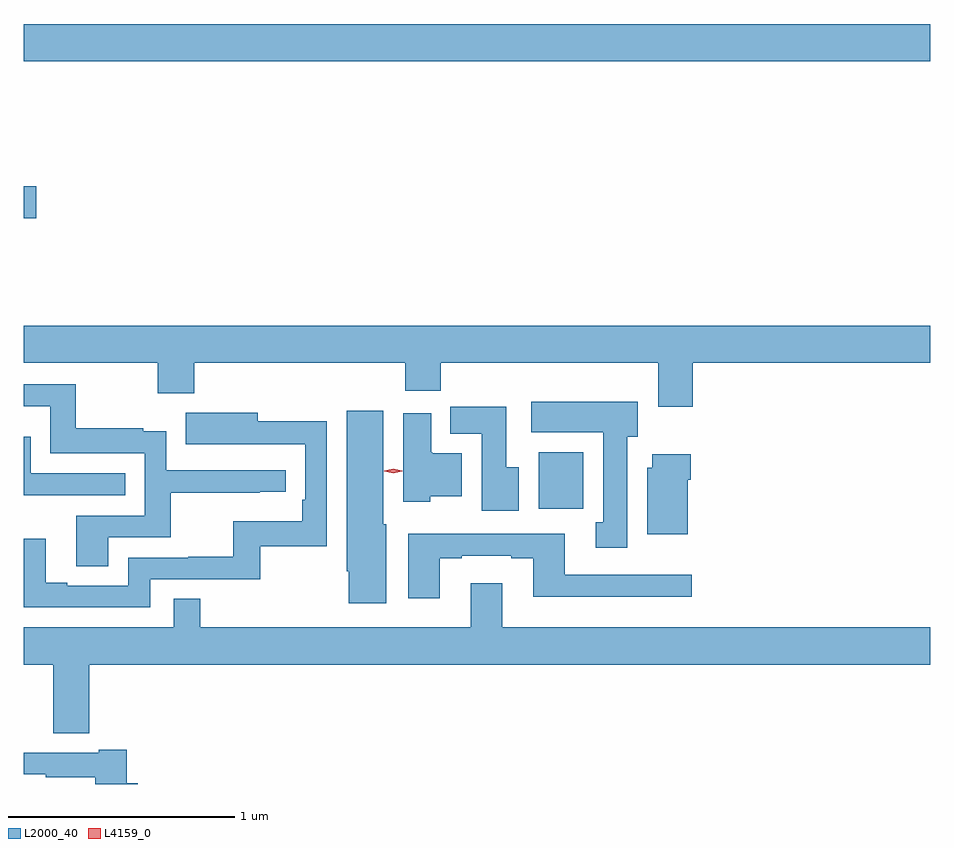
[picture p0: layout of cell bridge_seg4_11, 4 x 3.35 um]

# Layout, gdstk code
import gdstk
lib = gdstk.Library(unit=1e-6, precision=1e-09)
def R(c, l, rs):  # rectangles x0, y0, x1, y1
    for r in rs: c.add(gdstk.rectangle(r[:2], r[2:], *l))
def P(c, l, *ps):  # polygons
    for p in ps: c.add(gdstk.Polygon(p, *l))
L2000_40 = (2000, 40)
L4159_0 = (4159, 0)

bridge_seg4_11 = lib.new_cell('bridge_seg4_11')
R(bridge_seg4_11, L2000_40, [(891.227,757.548,891.423,757.798), (888.955,758.83,889.009,758.972), (888.955,759.524,892.955,759.688)])
P(bridge_seg4_11, L2000_40, [(891.908,758.192),(892.955,758.192),(892.955,758.356),(888.955,758.356),(888.955,758.192),(889.546,758.192),(889.546,758.057),(889.706,758.057),(889.706,758.192),(890.639,758.192),(890.639,758.068),(890.795,758.068),(890.795,758.192),(891.755,758.192),(891.755,757.998),(891.908,757.998)],
  [(889.327,757.422),(889.604,757.422),(889.604,757.618),(889.997,757.618),(889.997,757.623),(890.11,757.623),(890.11,757.719),(889.584,757.719),(889.584,757.891),(889.481,757.891),(889.481,757.903),(889.183,757.903),(889.183,758.097),(888.955,758.097),(888.955,758),(889.072,758),(889.072,757.794),(889.488,757.794),(889.488,757.518),(889.187,757.518),(889.187,757.294),(889.327,757.294)],
  [(891.619,757.866),(891.664,757.866),(891.664,758.02),(891.195,758.02),(891.195,757.886),(891.512,757.886),(891.512,757.489),(891.479,757.489),(891.479,757.377),(891.619,757.377)],
  [(891.139,757.732),(891.085,757.732),(891.085,757.998),(890.837,757.998),(890.837,757.88),(890.975,757.88),(890.975,757.539),(891.139,757.539)],
  [(890.554,757.479),(890.542,757.479),(890.542,757.981),(890.381,757.981),(890.381,757.272),(890.389,757.272),(890.389,757.131),(890.554,757.131)],
  [(889.512,757.236),(889.999,757.236),(889.999,757.383),(890.292,757.383),(890.292,757.934),(889.987,757.934),(889.987,757.972),(889.669,757.972),(889.669,757.832),(889.883,757.832),(889.883,757.833),(890.196,757.833),(890.196,757.588),(890.183,757.588),(890.183,757.492),(889.878,757.492),(889.878,757.337),(889.681,757.337),(889.681,757.332),(889.416,757.332),(889.416,757.209),(889.147,757.209),(889.147,757.222),(889.051,757.222),(889.051,757.415),(888.955,757.415),(888.955,757.113),(889.512,757.113)],
  [(890.748,757.604),(890.887,757.604),(890.887,757.792),(890.758,757.792),(890.758,757.798),(890.752,757.798),(890.752,757.969),(890.63,757.969),(890.63,757.58),(890.748,757.58)],
  [(889.403,757.704),(888.984,757.704),(888.984,757.867),(888.955,757.867),(888.955,757.608),(889.403,757.608)],
  [(891.886,757.676),(891.899,757.676),(891.899,757.789),(891.728,757.789),(891.728,757.728),(891.707,757.728),(891.707,757.436),(891.886,757.436)],
  [(890.791,757.329),(890.887,757.329),(890.887,757.341),(891.107,757.341),(891.107,757.329),(891.203,757.329),(891.203,757.16),(891.904,757.16),(891.904,757.257),(891.343,757.257),(891.343,757.437),(890.883,757.437),(890.883,757.438),(890.651,757.438),(890.651,757.152),(890.791,757.152)],
  [(889.244,756.86),(892.955,756.86),(892.955,757.024),(891.067,757.024),(891.067,757.219),(890.927,757.219),(890.927,757.024),(889.733,757.024),(889.733,757.151),(889.617,757.151),(889.617,757.024),(888.955,757.024),(888.955,756.86),(889.084,756.86),(889.084,756.556),(889.244,756.556)],
  [(889.457,756.337),(889.408,756.337),(889.408,756.484),(889.286,756.484),(889.286,756.471),(888.955,756.471),(888.955,756.375),(889.051,756.375),(889.051,756.363),(889.269,756.363),(889.269,756.333),(889.457,756.333)])
P(bridge_seg4_11, L4159_0, [(890.586,757.705),(890.546,757.714),(890.546,757.715),(890.546,757.715),(890.586,757.725),(890.626,757.715),(890.626,757.715),(890.626,757.714)])

lib.write_gds('bridge_seg4_11.gds')
